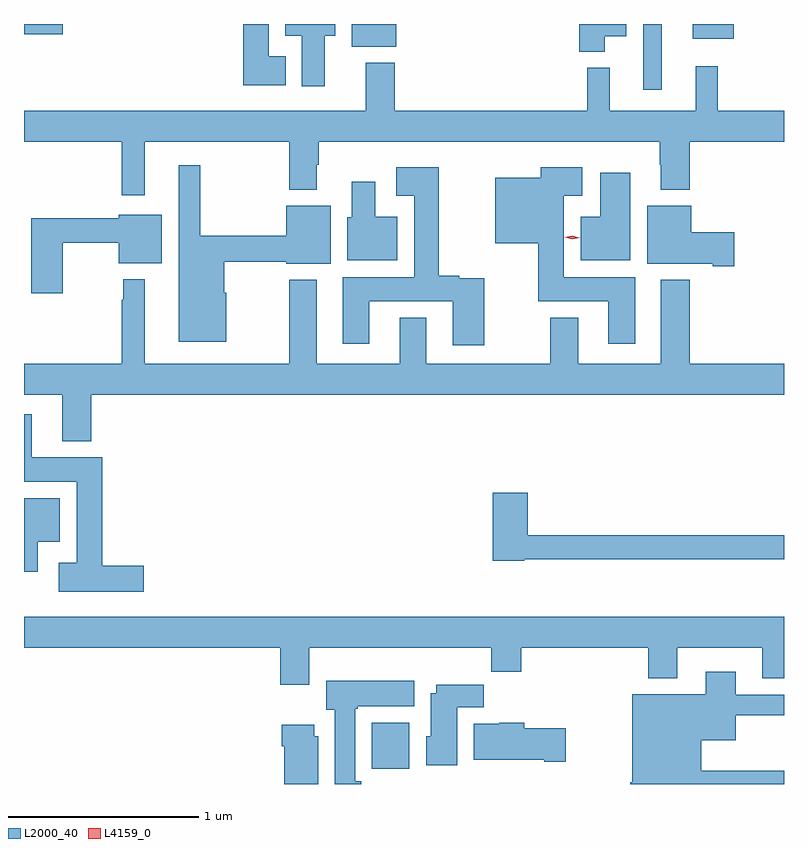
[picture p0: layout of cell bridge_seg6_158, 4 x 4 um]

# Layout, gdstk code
import gdstk
lib = gdstk.Library(unit=1e-6, precision=1e-09)
def R(c, l, rs):  # rectangles x0, y0, x1, y1
    for r in rs: c.add(gdstk.rectangle(r[:2], r[2:], *l))
def P(c, l, *ps):  # polygons
    for p in ps: c.add(gdstk.Polygon(p, *l))
L2000_40 = (2000, 40)
L4159_0 = (4159, 0)

bridge_seg6_158 = lib.new_cell('bridge_seg6_158')
R(bridge_seg6_158, L2000_40, [(534.326,976.004,534.523,976.246), (535.755,979.578,535.852,979.924), (534.221,979.805,534.454,979.924), (536.015,979.847,536.23,979.924), (532.495,979.87,532.699,979.924)])
P(bridge_seg6_158, L2000_40, [(533.872,979.753),(533.782,979.753),(533.782,979.924),(533.648,979.924),(533.648,979.601),(533.872,979.601)],
  [(534.079,979.862),(534.133,979.862),(534.133,979.924),(533.87,979.924),(533.87,979.862),(533.957,979.862),(533.957,979.596),(534.079,979.596)],
  [(535.552,979.859),(535.666,979.859),(535.666,979.924),(535.418,979.924),(535.418,979.778),(535.552,979.778)],
  [(535.577,979.693),(535.459,979.693),(535.459,979.468),(534.446,979.468),(534.446,979.72),(534.293,979.72),(534.293,979.468),(532.495,979.468),(532.495,979.304),(533.01,979.304),(533.01,979.023),(533.131,979.023),(533.131,979.304),(533.89,979.304),(533.89,979.052),(534.037,979.052),(534.037,979.184),(534.045,979.184),(534.045,979.304),(535.84,979.304),(535.84,979.184),(535.847,979.184),(535.847,979.052),(536,979.052),(536,979.304),(536.495,979.304),(536.495,979.468),(536.147,979.468),(536.147,979.702),(536.03,979.702),(536.03,979.468),(535.577,979.468)],
  [(533.56,978.51),(533.548,978.51),(533.548,978.673),(533.876,978.673),(533.876,978.662),(534.109,978.662),(534.109,978.967),(533.876,978.967),(533.876,978.809),(533.423,978.809),(533.423,979.18),(533.309,979.18),(533.309,978.251),(533.56,978.251)],
  [(534.918,978.586),(534.786,978.586),(534.786,978.599),(534.678,978.599),(534.678,979.171),(534.453,979.171),(534.453,979.019),(534.548,979.019),(534.548,978.592),(534.173,978.592),(534.173,978.24),(534.313,978.24),(534.313,978.464),(534.752,978.464),(534.752,978.234),(534.918,978.234)],
  [(535.711,978.592),(535.336,978.592),(535.336,979.019),(535.432,979.019),(535.432,979.171),(535.214,979.171),(535.214,979.114),(534.974,979.114),(534.974,978.77),(535.202,978.77),(535.202,978.464),(535.571,978.464),(535.571,978.24),(535.711,978.24)],
  [(535.687,979.141),(535.529,979.141),(535.529,978.91),(535.424,978.91),(535.424,978.68),(535.687,978.68)],
  [(534.46,978.91),(534.343,978.91),(534.343,979.093),(534.221,979.093),(534.221,978.906),(534.197,978.906),(534.197,978.68),(534.46,978.68)],
  [(536.233,978.828),(536.008,978.828),(536.008,978.967),(535.775,978.967),(535.775,978.662),(536.12,978.662),(536.12,978.65),(536.233,978.65)],
  [(532.698,978.772),(532.994,978.772),(532.994,978.665),(533.221,978.665),(533.221,978.919),(532.994,978.919),(532.994,978.901),(532.532,978.901),(532.532,978.507),(532.698,978.507)],
  [(532.495,977.972),(532.697,977.972),(532.697,977.729),(532.85,977.729),(532.85,977.972),(536.495,977.972),(536.495,978.136),(536,978.136),(536,978.577),(535.847,978.577),(535.847,978.136),(535.411,978.136),(535.411,978.379),(535.264,978.379),(535.264,978.136),(534.613,978.136),(534.613,978.379),(534.473,978.379),(534.473,978.136),(534.037,978.136),(534.037,978.577),(533.89,978.577),(533.89,978.136),(533.131,978.136),(533.131,978.58),(533.017,978.58),(533.017,978.473),(533.01,978.473),(533.01,978.136),(532.495,978.136)],
  [(533.125,977.072),(532.907,977.072),(532.907,977.644),(532.537,977.644),(532.537,977.869),(532.495,977.869),(532.495,977.516),(532.772,977.516),(532.772,977.089),(532.677,977.089),(532.677,976.937),(533.125,976.937)],
  [(535.128,977.106),(536.495,977.106),(536.495,977.234),(535.145,977.234),(535.145,977.458),(534.962,977.458),(534.962,977.098),(535.128,977.098)],
  [(532.567,977.198),(532.684,977.198),(532.684,977.428),(532.495,977.428),(532.495,977.04),(532.567,977.04)],
  [(533.995,976.64),(534.955,976.64),(534.955,976.516),(535.112,976.516),(535.112,976.64),(535.781,976.64),(535.781,976.481),(535.933,976.481),(535.933,976.64),(536.381,976.64),(536.381,976.48),(536.495,976.48),(536.495,976.804),(532.495,976.804),(532.495,976.64),(533.843,976.64),(533.843,976.446),(533.995,976.446)],
  [(536.495,975.994),(536.059,975.994),(536.059,976.154),(536.242,976.154),(536.242,976.287),(536.495,976.287),(536.495,976.395),(536.242,976.395),(536.242,976.516),(536.084,976.516),(536.084,976.396),(535.697,976.396),(535.697,975.934),(535.685,975.934),(535.685,975.924),(536.495,975.924)],
  [(534.271,975.938),(534.238,975.938),(534.238,976.321),(534.252,976.321),(534.252,976.334),(534.55,976.334),(534.55,976.468),(534.086,976.468),(534.086,976.314),(534.131,976.314),(534.131,975.924),(534.271,975.924)],
  [(534.775,976.328),(534.914,976.328),(534.914,976.447),(534.665,976.447),(534.665,976.402),(534.635,976.402),(534.635,976.176),(534.611,976.176),(534.611,976.022),(534.775,976.022)],
  [(535.345,976.218),(535.127,976.218),(535.127,976.246),(534.996,976.246),(534.996,976.24),(534.863,976.24),(534.863,976.052),(535.232,976.052),(535.232,976.04),(535.345,976.04)],
  [(534.043,976.176),(534.022,976.176),(534.022,976.237),(533.852,976.237),(533.852,976.124),(533.864,976.124),(533.864,975.924),(534.043,975.924)])
P(bridge_seg6_158, L4159_0, [(535.38,978.79),(535.341,978.801),(535.341,978.801),(535.341,978.801),(535.38,978.81),(535.419,978.799),(535.419,978.798),(535.419,978.798)])

lib.write_gds('bridge_seg6_158.gds')
